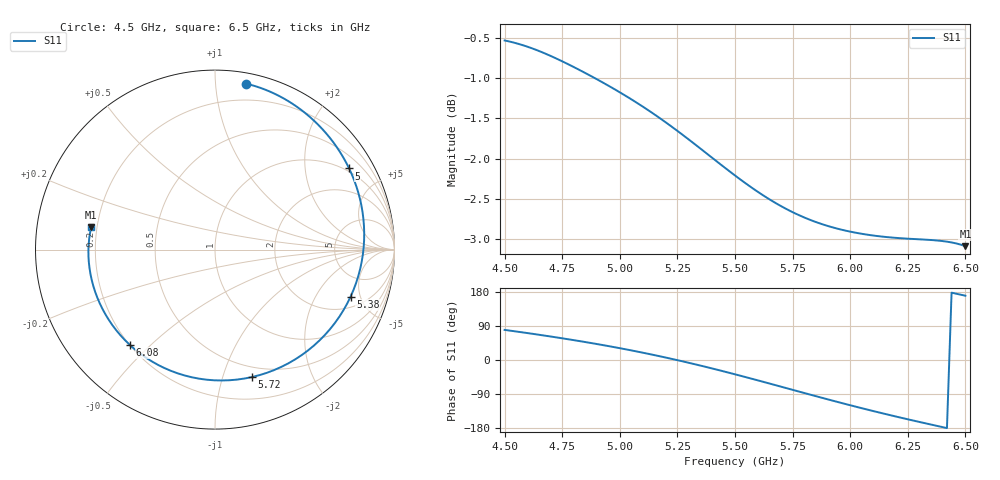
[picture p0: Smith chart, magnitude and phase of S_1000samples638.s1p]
! TOUCHSTONE file generated by CST MICROWAVE STUDIO
! Date and time: Fri Oct 28 20:59:43 2022
! Project name: L.cst
! Parameters = {Di=1.27; Epsilon_r=1.56; InnerDiameter=1.27; Length=2; Lf=10; Lg=60; OuterConductorThickness=0.2921; OuterDiameter=3.6; Wf=3; Wp=41.2; de=1.5; df=6.8; g=0.8; gx=2.45247; gy=1.93889; h=2.34; hf=1.524; px=9.5327; py=10.8823; w=9.7; wx=7.08023; wy=8.94341}
! Header version: 2018
! Port assignment regex: !\s*Touchstone port\s*([0-9]+)\s*=\s*(CST MWS port|CST DS port)\s*([0-9]+|Zmin|Zmax)\s*\(\"(.*)\"\)(\s*mode\s*([0-9]+))?.*
! Touchstone port assignment:
! Touchstone port 1 = CST MWS port 1 ("")
# GHz S DB R 50
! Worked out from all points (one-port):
!   101 points, 4.5 GHz to 6.5 GHz, reference 50 ohm
!   lowest |S11| = -3.1 dB at 6.5 GHz (marker M1), VSWR 5.68, Z = 8.87 + j4.41 ohm
!   |S11| at or under -10 dB: nowhere
!   S11 on the Smith chart (normalised r, x): 4.5 GHz: 0.07, +1.20; 5 GHz: 0.88, +3.37; 5.38 GHz: 2.79, -4.07; 5.72 GHz: 0.40, -1.25; 6.08 GHz: 0.20, -0.43; 6.5 GHz: 0.18, +0.09
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4.5  -0.53 79.4
4.62  -0.63 69.2
4.76  -0.81 56.3
4.88  -0.98 44.3
5  -1.18 31.2
5.08  -1.32 21.7
5.14  -1.43 14.2
5.2  -1.55 6.4
5.26  -1.68 -1.8
5.32  -1.81 -10.4
5.38  -1.94 -19.2
5.44  -2.08 -28.4
5.5  -2.21 -37.8
5.56  -2.34 -47.4
5.62  -2.45 -57.2
5.72  -2.62 -73.7
5.76  -2.68 -80.4
5.82  -2.75 -90.3
5.88  -2.82 -100.2
5.94  -2.87 -109.9
6  -2.91 -119.4
6.08  -2.95 -131.7
6.18  -2.98 -146.5
6.26  -3.00 -157.9
6.32  -3.01 -166.2
6.38  -3.02 -174.3
6.44  -3.04 177.6
6.5  -3.09 169.6
